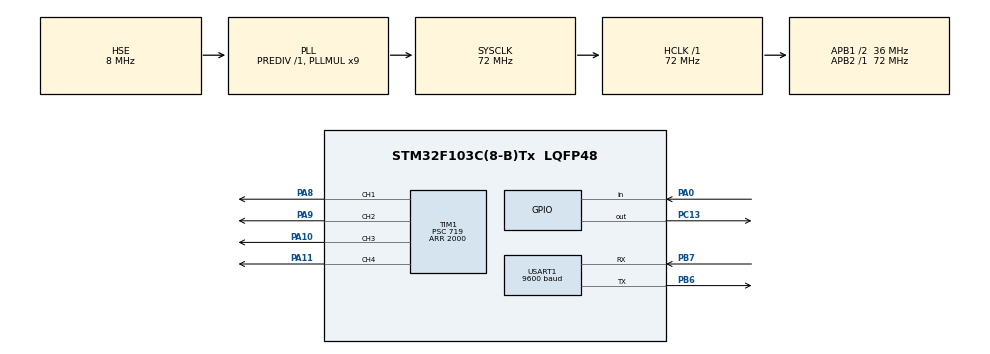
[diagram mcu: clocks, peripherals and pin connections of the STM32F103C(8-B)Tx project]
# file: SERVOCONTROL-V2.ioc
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Mcu.Family=STM32F1
Mcu.Name=STM32F103C(8-B)Tx
Mcu.Package=LQFP48
NVIC.PriorityGroup=NVIC_PRIORITYGROUP_4
NVIC.USART1_IRQn=true\:2\:0\:true\:false\:true\:true\:true\:true
PA0-WKUP.GPIO_PuPd=GPIO_NOPULL
PA0-WKUP.Signal=GPIO_Input
PA10.Signal=S_TIM1_CH3
PA11.Signal=S_TIM1_CH4
PA13.Mode=Serial_Wire
PA13.Signal=SYS_JTMS-SWDIO
PA14.Mode=Serial_Wire
PA14.Signal=SYS_JTCK-SWCLK
PA8.Signal=S_TIM1_CH1
PA9.Signal=S_TIM1_CH2
PB6.Mode=Asynchronous
PB6.Signal=USART1_TX
PB7.Mode=Asynchronous
PB7.Signal=USART1_RX
PC13-TAMPER-RTC.Signal=GPIO_Output
PD0-OSC_IN.Mode=HSE-External-Oscillator
PD0-OSC_IN.Signal=RCC_OSC_IN
PD1-OSC_OUT.Mode=HSE-External-Oscillator
PD1-OSC_OUT.Signal=RCC_OSC_OUT
ProjectManager.HeapSize=0x200
ProjectManager.StackSize=0x400
ProjectManager.TargetToolchain=MDK-ARM V5.32
RCC.AHBFreq_Value=72000000
RCC.APB1CLKDivider=RCC_HCLK_DIV2
RCC.APB1Freq_Value=36000000
RCC.APB1TimFreq_Value=72000000
RCC.APB2Freq_Value=72000000
RCC.APB2TimFreq_Value=72000000
RCC.HCLKFreq_Value=72000000
RCC.PLLMUL=RCC_PLL_MUL9
RCC.PLLSourceVirtual=RCC_PLLSOURCE_HSE
RCC.SYSCLKFreq_VALUE=72000000
RCC.SYSCLKSource=RCC_SYSCLKSOURCE_PLLCLK
RCC.USBFreq_Value=72000000
SH.S_TIM1_CH1.0=TIM1_CH1,PWM Generation1 CH1
SH.S_TIM1_CH2.0=TIM1_CH2,PWM Generation2 CH2
SH.S_TIM1_CH3.0=TIM1_CH3,PWM Generation3 CH3
SH.S_TIM1_CH4.0=TIM1_CH4,PWM Generation4 CH4
TIM1.Channel-PWM\ Generation1\ CH1=TIM_CHANNEL_1
TIM1.Channel-PWM\ Generation2\ CH2=TIM_CHANNEL_2
TIM1.Channel-PWM\ Generation3\ CH3=TIM_CHANNEL_3
TIM1.Channel-PWM\ Generation4\ CH4=TIM_CHANNEL_4
TIM1.Period=2000
TIM1.Prescaler=719
USART1.BaudRate=9600
USART1.VirtualMode=VM_ASYNC
board=custom

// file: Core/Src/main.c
/* USER CODE BEGIN Header */
/**
  ******************************************************************************
  * @file           : main.c
  * @brief          : Main program body
  ******************************************************************************
  * @attention
  *
  * Copyright (c) 2025 STMicroelectronics.
  * All rights reserved.
  *
  * This software is licensed under terms that can be found in the LICENSE file
  * in the root directory of this software component.
  * If no LICENSE file comes with this software, it is provided AS-IS.
  *
  ******************************************************************************
  */
/* USER CODE END Header */
#include "main.h"
#include "tim.h"
#include "usart.h"
#include "gpio.h"

/* USER CODE BEGIN Includes */
#include "math.h"
#include <stdio.h>
#include <string.h>
/* USER CODE END Includes */

/* USER CODE BEGIN PD */
#define white 1
#define black 2
#define human_chess 1
#define PC_chess 0
#define SIZE 3
#define human_chess 1
#define PC_chess 0
#define SIZE 3
#define black 2
#define white 1
#define BASE_HEIGHT 85
#define SHOULDER_LEN 117.0
#define ELBOW_LEN 250.0
#define M_PI 3.14159
#define BASE_HEIGHT 85
#define SHOULDER_LEN 117.0
#define ELBOW_LEN 250.0
#define M_PI 3.14159
/* USER CODE END PD */

/* USER CODE BEGIN PV */
typedef struct{
		uint8_t mode;
		uint8_t color;
		uint8_t number;
		uint8_t board_position;
}Pieces;
Pieces pieces[4];
uint8_t temp_data;
char received_data1[6],received_data2[3];
int pieces_placed,data_cnt1,data_cnt2;
int duty[3]={110,180,180};
int8_t human=-1,PC,first_step,rounds=black,control_cnt;
int8_t using_pieces_black[5],using_pieces__white[5],to_use[2];

double board_location[9][3]={{40,210,50},{10,210,50},{-20,210,50},{40,270,100},{10,266,100},{-20,266,100},{40,300,110},{10,300,110},{-20,300,110}};
double white_chequer[5][3]={{92,190,100},{100,220,100},{100,261,100},{100,300,100},{100,350,100}};
double black_chequer[5][3]={{-85,190,100},{-85,235,100},{-78,261,100},{-78,300,100},{-78,350,100}};
int white_chess[5],black_chess[5],board[9];
extern double theta0,theta1,theta2;
int duty0[3]={110,180,120};
double x,y,z;double theta0,theta1,theta2;
/* USER CODE END PV */

void SystemClock_Config(void);

/* USER CODE BEGIN 0 */

void HAL_UART_RxCpltCallback(UART_HandleTypeDef *huart){
		if(huart==&huart1){
				if(temp_data==0xAA){
					received_data1[data_cnt1]=temp_data;
					data_cnt1++;
					}
				else if(temp_data<128&&temp_data>0){
						received_data1[data_cnt1]=temp_data;
						data_cnt1++;
				}
				if(temp_data==0xBB){
						data_cnt1=0;
						pieces[pieces_placed].mode=received_data1[1];
						pieces[pieces_placed].color=received_data1[2];
						pieces[pieces_placed].number=received_data1[3];
						pieces[pieces_placed].board_position=received_data1[4];
						memset(received_data1,0,sizeof(received_data1));
						pieces_placed++;
				}
				if(pieces_placed==4){pieces_placed=0;}
				if(temp_data==0xCC){
						received_data2[0]=temp_data;
				}

			HAL_UART_Receive_IT(&huart1,&temp_data,1);
		}
}

void move(int* duty){
	__HAL_TIM_SetCompare(&htim1,TIM_CHANNEL_1,duty[0]);
	HAL_Delay(500);
	__HAL_TIM_SetCompare(&htim1,TIM_CHANNEL_2,duty[1]);
	HAL_Delay(500);
	//??????????
	__HAL_TIM_SetCompare(&htim1,TIM_CHANNEL_3,duty[2]);
	//??????????
	HAL_Delay(2000);
	__HAL_TIM_SetCompare(&htim1,TIM_CHANNEL_2,duty0[1]);
	HAL_Delay(500);
	__HAL_TIM_SetCompare(&htim1,TIM_CHANNEL_1,duty0[0]);
	HAL_Delay(500);
	//??????????
	__HAL_TIM_SetCompare(&htim1,TIM_CHANNEL_3,duty0[2]);
	HAL_Delay(500);
	//??????????
}

void inverseKinematics(int numberin,int* duty,int color) {

		int number=numberin-1;
		switch(color){
			case 1:
				x=black_chequer[number][0];
				y=black_chequer[number][1];
				z=black_chequer[number][2];
				break;
			case 2:
				x=white_chequer[number][0];
				y=white_chequer[number][1];
				z=white_chequer[number][2];
				break;
			case 0:
				x=board_location[number][0];
				y=board_location[number][1];
				z=board_location[number][2];
			default:
				break;
		}

    theta0 = atan2(y,x);

    double xp = sqrt(x*x + y*y); // ??????
    double zp = z - BASE_HEIGHT; // ????????
    double d = sqrt(xp*xp + zp*zp); // ???????????

    // ??????
    if (d > (SHOULDER_LEN + ELBOW_LEN) || d < fabs(SHOULDER_LEN - ELBOW_LEN)) {
				duty[0]=-1;
    }

    double alpha = atan2(zp, xp); // ????
    double beta = acos((SHOULDER_LEN*SHOULDER_LEN + d*d - ELBOW_LEN*ELBOW_LEN)
                      / (2.0 * SHOULDER_LEN * d)); // ????

    // ??????
    theta1 = alpha + beta;
    theta2 = M_PI-acos((SHOULDER_LEN*SHOULDER_LEN + ELBOW_LEN*ELBOW_LEN - d*d)
                  / (2.0 * SHOULDER_LEN * ELBOW_LEN));

    // ??????
    duty[0] = (theta0/M_PI/1.5*0.1+0.025)*2000;
    duty[1] = (theta1/M_PI*0.1+0.025)*2000;
    duty[2] = (theta2/M_PI*0.1+0.025)*2000;

}

int check_win(int player) {//player=1||2
    // ?????
    for(int i=0; i<SIZE; i++) {
			if(board[i]==player&&board[i+1]==player&&board[i+2]==player) return 1;
			if(board[i]==player&&board[i+3]==player&&board[i+6]==player) return 1;
		}
    // ?????
    if(board[0]== player && board[4]== player && board[8]== player) return 1;
    if(board[2] == player && board[4] == player && board[6] == player) return 1;
    return 0;
}

/* USER CODE END 0 */

int main(void)
{

  /* USER CODE BEGIN 1 */
HAL_GPIO_WritePin(GPIOC,GPIO_PIN_13,GPIO_PIN_RESET);
  /* USER CODE END 1 */

  /* MCU Configuration--------------------------------------------------------*/

  /* Reset of all peripherals, Initializes the Flash interface and the Systick. */
  HAL_Init();

  /* Configure the system clock */
  SystemClock_Config();

  /* Initialize all configured peripherals */
  MX_GPIO_Init();
  MX_TIM1_Init();
  MX_USART1_UART_Init();
  /* USER CODE BEGIN 2 */
	  HAL_TIM_PWM_Start(&htim1,TIM_CHANNEL_1);
		HAL_TIM_PWM_Start(&htim1,TIM_CHANNEL_2);
		HAL_TIM_PWM_Start(&htim1,TIM_CHANNEL_3);
		HAL_TIM_PWM_Start(&htim1,TIM_CHANNEL_4);
	  move(duty);
		HAL_UART_Receive_IT(&huart1,&temp_data,1);

  /* USER CODE END 2 */

  /* Infinite loop */
  /* USER CODE BEGIN WHILE */
  while (1)
  {
		if(HAL_GPIO_ReadPin(GPIOA,GPIO_PIN_0)==GPIO_PIN_SET){
			HAL_GPIO_WritePin(GPIOC,GPIO_PIN_13,GPIO_PIN_SET);
			while(pieces[control_cnt].number!=0x00 && control_cnt<pieces_placed){
					inverseKinematics(pieces[control_cnt].number,duty,pieces[control_cnt].color);
					HAL_Delay(1000);
					move(duty);
					HAL_Delay(1000);
					inverseKinematics(pieces[control_cnt].board_position,duty,0);
					HAL_Delay(1000);
					move(duty);
					HAL_Delay(1000);
					control_cnt++;
			}

			}
		else if (HAL_GPIO_ReadPin(GPIOA,GPIO_PIN_0)==GPIO_PIN_RESET){HAL_GPIO_WritePin(GPIOC,GPIO_PIN_13,GPIO_PIN_RESET);}

		if(human!=-1){PC=1-human;}
		if(human==white&&first_step==0&&pieces_placed!=0){
				inverseKinematics(pieces[pieces_placed].number,duty,pieces[pieces_placed].color);
				//used_sth(pieces[pieces_placed].number,pieces[pieces_placed].color);//board+pieces used
				move(duty);//moving the servo to the pieces and reset
				inverseKinematics(pieces[pieces_placed].board_position,duty,0);//moving to the position to place the pieces
				move(duty);
			  rounds=white;first_step=1;//change rounds
		}
		if(rounds==human){
				inverseKinematics(pieces[pieces_placed].number,duty,pieces[pieces_placed].color);
				move(duty);
				inverseKinematics(pieces[pieces_placed].board_position,duty,0);
				move(duty);
				rounds=PC;
				check_win(human);
				if(first_step==0){first_step=1;}
		}
		else if(rounds==PC){
			  //PC_thinking(board,PC,using_pieces,to_use);
				inverseKinematics(to_use[0],duty,pieces[pieces_placed].color);
				move(duty);
				inverseKinematics(to_use[1],duty,0);
				move(duty);
				to_use[0]=0;to_use[1]=0;
				check_win(PC);
		}

			//transimit the position of the human placed pieces

}//battling{}

    /* USER CODE END WHILE */

}

void SystemClock_Config(void)
{
  RCC_OscInitTypeDef RCC_OscInitStruct = {0};
  RCC_ClkInitTypeDef RCC_ClkInitStruct = {0};

  /** Initializes the RCC Oscillators according to the specified parameters
  * in the RCC_OscInitTypeDef structure.
  */
  RCC_OscInitStruct.OscillatorType = RCC_OSCILLATORTYPE_HSE;
  RCC_OscInitStruct.HSEState = RCC_HSE_ON;
  RCC_OscInitStruct.HSEPredivValue = RCC_HSE_PREDIV_DIV1;
  RCC_OscInitStruct.HSIState = RCC_HSI_ON;
  RCC_OscInitStruct.PLL.PLLState = RCC_PLL_ON;
  RCC_OscInitStruct.PLL.PLLSource = RCC_PLLSOURCE_HSE;
  RCC_OscInitStruct.PLL.PLLMUL = RCC_PLL_MUL9;
  if (HAL_RCC_OscConfig(&RCC_OscInitStruct) != HAL_OK)
  {
    Error_Handler();
  }

  /** Initializes the CPU, AHB and APB buses clocks
  */
  RCC_ClkInitStruct.ClockType = RCC_CLOCKTYPE_HCLK|RCC_CLOCKTYPE_SYSCLK
                              |RCC_CLOCKTYPE_PCLK1|RCC_CLOCKTYPE_PCLK2;
  RCC_ClkInitStruct.SYSCLKSource = RCC_SYSCLKSOURCE_PLLCLK;
  RCC_ClkInitStruct.AHBCLKDivider = RCC_SYSCLK_DIV1;
  RCC_ClkInitStruct.APB1CLKDivider = RCC_HCLK_DIV2;
  RCC_ClkInitStruct.APB2CLKDivider = RCC_HCLK_DIV1;

  if (HAL_RCC_ClockConfig(&RCC_ClkInitStruct, FLASH_LATENCY_2) != HAL_OK)
  {
    Error_Handler();
  }
}

void Error_Handler(void)
{
  __disable_irq();
  while (1)
  {
  }
}
